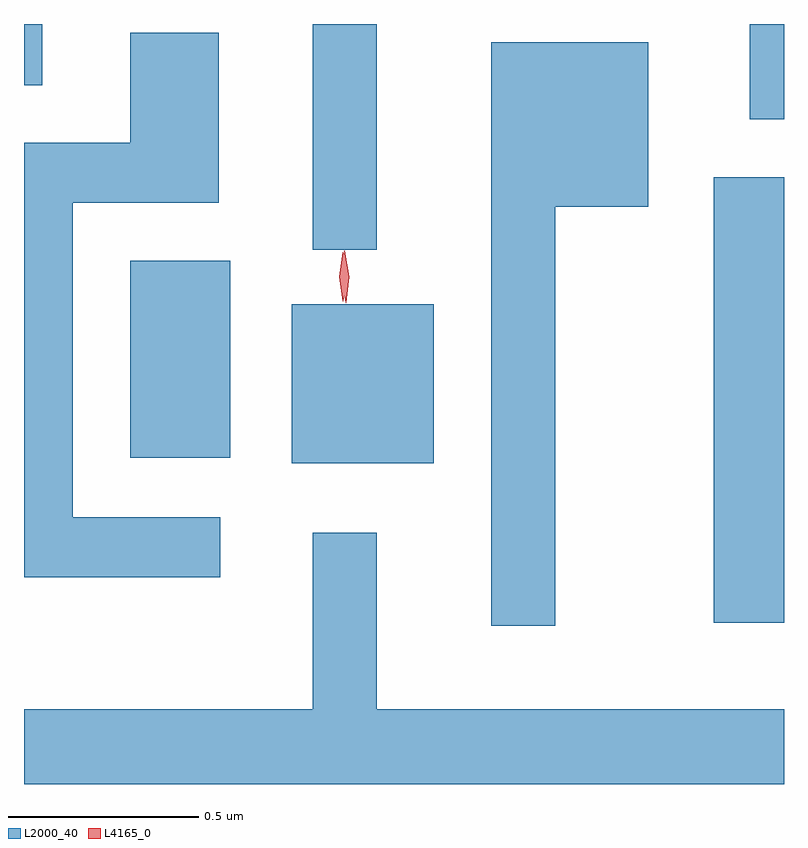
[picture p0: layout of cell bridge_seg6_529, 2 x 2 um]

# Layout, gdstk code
import gdstk
lib = gdstk.Library(unit=1e-6, precision=1e-09)
def R(c, l, rs):  # rectangles x0, y0, x1, y1
    for r in rs: c.add(gdstk.rectangle(r[:2], r[2:], *l))
def P(c, l, *ps):  # polygons
    for p in ps: c.add(gdstk.Polygon(p, *l))
L2000_40 = (2000, 40)
L4165_0 = (4165, 0)

bridge_seg6_529 = lib.new_cell('bridge_seg6_529')
R(bridge_seg6_529, L2000_40, [(833.566,1539.431,833.751,1540.604), (832.456,1539.851,832.829,1540.269), (832.031,1539.866,832.294,1540.384), (832.511,1540.413,832.679,1541.007), (833.661,1540.756,833.751,1541.007), (831.751,1540.846,831.799,1541.007)])
P(bridge_seg6_529, L2000_40, [(832.268,1539.709),(831.879,1539.709),(831.879,1540.536),(832.264,1540.536),(832.264,1540.984),(832.031,1540.984),(832.031,1540.694),(831.751,1540.694),(831.751,1539.551),(832.268,1539.551)],
  [(833.149,1540.526),(833.394,1540.526),(833.394,1540.959),(832.981,1540.959),(832.981,1539.423),(833.149,1539.423)],
  [(832.511,1539.668),(832.511,1539.204),(831.751,1539.204),(831.751,1539.007),(833.751,1539.007),(833.751,1539.204),(832.679,1539.204),(832.679,1539.668)])
P(bridge_seg6_529, L4165_0, [(832.598,1540.274),(832.587,1540.342),(832.594,1540.41),(832.595,1540.41),(832.595,1540.41),(832.607,1540.342),(832.599,1540.274),(832.599,1540.274)],
  [(832.59,1540.278),(832.581,1540.342),(832.59,1540.406),(832.591,1540.407),(832.591,1540.406),(832.601,1540.342),(832.591,1540.278),(832.591,1540.278)])

lib.write_gds('bridge_seg6_529.gds')
